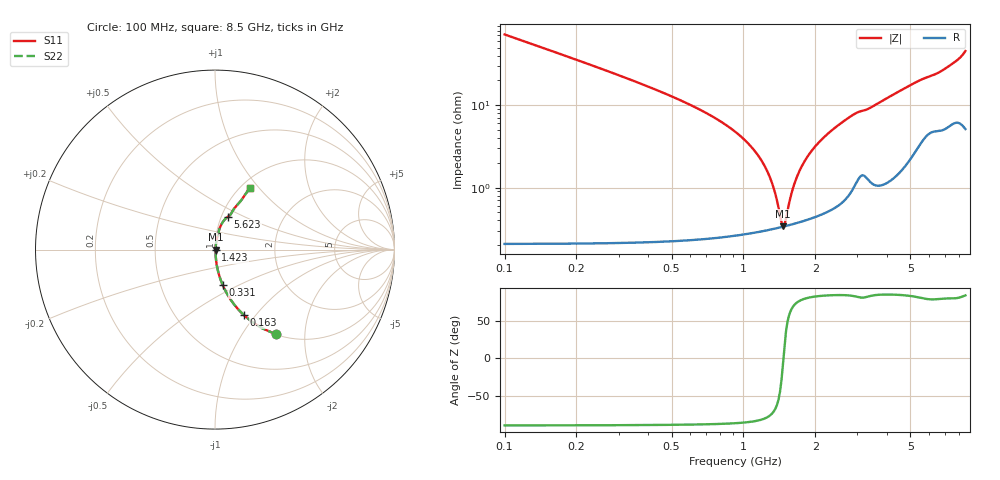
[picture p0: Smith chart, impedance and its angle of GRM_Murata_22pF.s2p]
!Murata Part Number: GRM1885C1H220JA01
!These Parameters are Measured in Series Mode Connection
!Data Generated on Mar 13, 2026
!  o--ll--o
!Port1  Port2
!  o------o
!Operation Temp=25[degC], DC Bias Voltage=0[V]
!Freq. Start=100[MHz] Stop=9[GHz] 401[Steps]
# Hz S RI R 50
!Freq.(Hz) S11(Real) S11(Imag) S21(Real) S21(Imag) S12(Real) S12(Imag) S22(Real) S22(Imag)
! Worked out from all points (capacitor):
!   401 points, 100 MHz to 8.5 GHz, reference 50 ohm
!   read as one part in series: C = 22 pF near 142 MHz
!   lowest |Z| = 338 mohm at 1.465 GHz (marker M1)
!   series resonance near 1.471 GHz, so ESL is about 530 pH
!   S11 on the Smith chart (normalised r, x): 100 MHz: 1.00, -1.44; 163 MHz: 1.00, -0.88; 331 MHz: 1.00, -0.42; 1.423 GHz: 1.01, -0.01; 5.623 GHz: 1.07, +0.41; 8.5 GHz: 1.10, +0.90
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1e8  0.3419 -0.4729  0.6581 0.4729  0.6581 0.4729  0.3419 -0.4729
1.63e8  0.1624 -0.3664  0.8376 0.3664  0.8376 0.3664  0.1624 -0.3664
2.26e8  0.0906 -0.2837  0.9094 0.2837  0.9094 0.2837  0.0906 -0.2837
3.31e8  0.0432 -0.1982  0.9568 0.1982  0.9568 0.1982  0.0432 -0.1982
6.25e8  0.0112 -0.0937  0.9888 0.0937  0.9888 0.0937  0.0112 -0.0937
9.4e8  0.00469 -0.0453  0.9953 0.0453  0.9953 0.0453  0.00469 -0.0453
1.129e9  0.00355 -0.0263  0.9965 0.0263  0.9965 0.0263  0.00355 -0.0263
1.297e9  0.00324 -0.0124  0.9968 0.0124  0.9968 0.0124  0.00324 -0.0124
1.423e9  0.00329 -0.00326  0.9967 0.00326  0.9967 0.00326  0.00329 -0.00326
1.465e9  0.00335 -0.000392  0.9967 0.000392  0.9967 0.000392  0.00335 -0.000392
1.507e9  0.00342 0.0024  0.9966 -0.0024  0.9966 -0.0024  0.00342 0.0024
1.591e9  0.00362 0.00777  0.9964 -0.00777  0.9964 -0.00777  0.00362 0.00777
1.675e9  0.00388 0.0129  0.9961 -0.0129  0.9961 -0.0129  0.00388 0.0129
1.78e9  0.00428 0.019  0.9957 -0.019  0.9957 -0.019  0.00428 0.019
1.906e9  0.00486 0.026  0.9951 -0.026  0.9951 -0.026  0.00486 0.026
2.305e9  0.00743 0.0467  0.9926 -0.0467  0.9926 -0.0467  0.00743 0.0467
2.914e9  0.016 0.0754  0.984 -0.0754  0.984 -0.0754  0.016 0.0754
4.3e9  0.0308 0.1308  0.9692 -0.1308  0.9692 -0.1308  0.0308 0.1308
5.623e9  0.0715 0.1827  0.9285 -0.1827  0.9285 -0.1827  0.0715 0.1827
5.707e9  0.0745 0.1848  0.9255 -0.1848  0.9255 -0.1848  0.0745 0.1848
7.114e9  0.1137 0.2372  0.8863 -0.2372  0.8863 -0.2372  0.1137 0.2372
8.5e9  0.1964 0.3445  0.8036 -0.3445  0.8036 -0.3445  0.1964 0.3445
